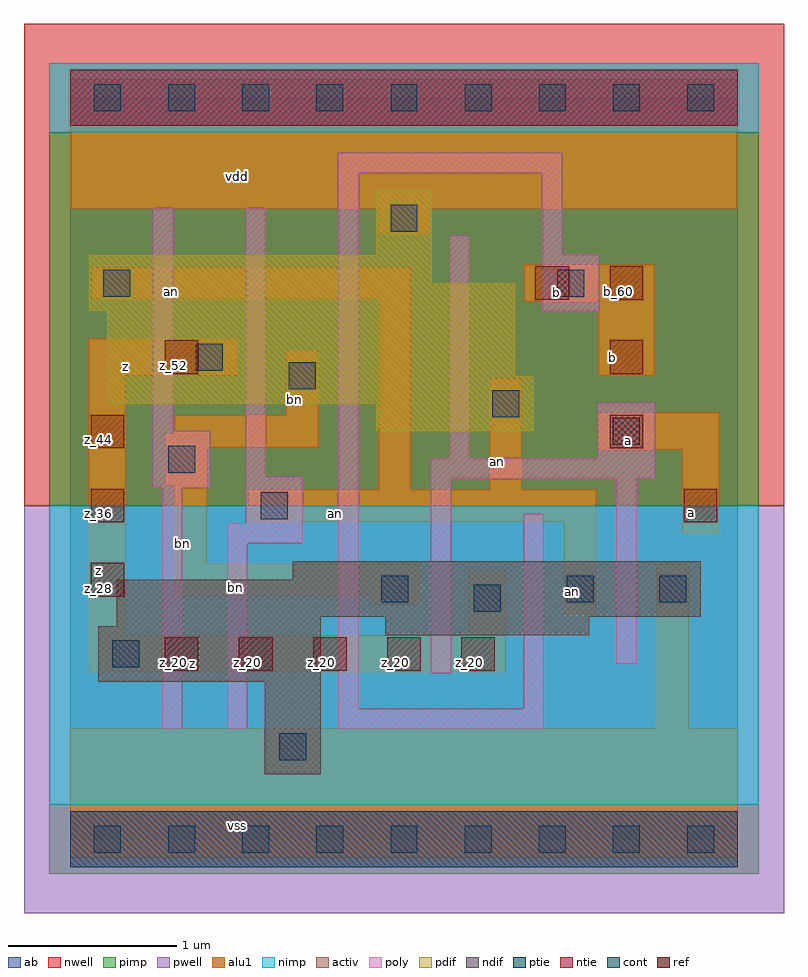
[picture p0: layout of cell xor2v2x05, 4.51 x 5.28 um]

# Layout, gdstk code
import gdstk
lib = gdstk.Library(unit=1e-6, precision=2.5e-09)
def R(c, l, rs):  # rectangles x0, y0, x1, y1
    for r in rs: c.add(gdstk.rectangle(r[:2], r[2:], *l))
def A(c, l, x, y, w, h, nx, ny, dx, dy):  # array of equal rectangles
    R(c, l, [(x+i*dx, y+j*dy, x+i*dx+w, y+j*dy+h) for i in range(nx) for j in range(ny)])
ndif = (3, 0)
pdif = (4, 0)
ntie = (5, 0)
ptie = (6, 0)
ref = (24, 0)
cont = (25, 0)
pwell = (41, 0)
nwell = (42, 0)
activ = (43, 0)
pimp = (44, 0)
nimp = (45, 0)
poly = (46, 0)
alu1 = (49, 0)
ab = (63, 0)

xor2v2x05 = lib.new_cell('xor2v2x05')
R(xor2v2x05, ndif, [(1.155,0.385,1.485,0.935), (0.165,0.935,1.485,1.265), (1.87,1.21,3.08,1.32), (0.275,1.265,1.485,1.32), (0.275,1.32,3.74,1.54), (1.32,1.54,3.74,1.65)])
R(xor2v2x05, pdif, [(1.815,2.42,2.75,2.585), (0.22,2.585,2.75,2.75), (0.22,2.75,2.64,3.135), (0.11,3.135,2.64,3.3), (0.11,3.3,2.145,3.465), (1.815,3.465,2.145,3.85)])
R(xor2v2x05, ntie, [(0,4.235,3.96,4.565)])
R(xor2v2x05, ptie, [(0,-0.165,3.96,0.165)])
A(xor2v2x05, ref, 0.56, 1, 0.2, 0.2, 5, 1, 0.44, 0)
A(xor2v2x05, ref, 0.12, 1.44, 0.2, 0.2, 1, 3, 0, 0.44)
A(xor2v2x05, ref, 3.2, 2.32, 0.2, 0.2, 1, 3, 0, 0.44)
R(xor2v2x05, ref, [(3.64,1.88,3.84,2.08), (0.56,2.76,0.76,2.96), (2.76,3.2,2.96,3.4)])
A(xor2v2x05, cont, 0.14, -0.08, 0.16, 0.16, 9, 2, 0.44, 4.4)
R(xor2v2x05, cont, [(1.24,0.47,1.4,0.63), (0.25,1.02,0.41,1.18), (2.395,1.35,2.555,1.51), (1.845,1.405,2.005,1.565), (2.945,1.405,3.105,1.565), (3.495,1.405,3.655,1.565), (1.13,1.9,1.29,2.06), (0.58,2.175,0.74,2.335), (3.22,2.34,3.38,2.5), (2.505,2.505,2.665,2.665), (1.295,2.67,1.455,2.83), (0.745,2.78,0.905,2.94), (0.195,3.22,0.355,3.38), (2.89,3.22,3.05,3.38), (1.9,3.605,2.06,3.765)])
R(xor2v2x05, pwell, [(-0.275,-0.44,4.235,1.98)])
R(xor2v2x05, nwell, [(-0.275,1.98,4.235,4.84)])
R(xor2v2x05, activ, [(0,-0.165,3.96,0.165), (1.155,0.385,1.485,0.935), (0.165,0.935,1.485,1.265), (1.87,1.21,3.08,1.32), (0.275,1.265,1.485,1.32), (0.275,1.32,3.74,1.54), (1.32,1.54,3.74,1.65), (1.815,2.42,2.75,2.585), (0.22,2.585,2.75,2.75), (0.22,2.75,2.64,3.135), (0.11,3.135,2.64,3.3), (0.11,3.3,2.145,3.465), (1.815,3.465,2.145,3.85), (0,4.235,3.96,4.565)])
R(xor2v2x05, pimp, [(-0.125,-0.205,4.085,0.205), (-0.125,1.98,4.085,4.195)])
R(xor2v2x05, nimp, [(-0.125,0.205,4.085,1.98), (-0.125,4.195,4.085,4.605)])
R(xor2v2x05, poly, [(0.545,0.655,0.665,2.085), (0.93,0.655,1.05,1.755), (1.59,0.655,2.81,0.775), (1.59,0.775,1.71,3.955), (2.69,0.775,2.81,1.93), (2.14,0.985,2.26,2.14), (3.24,1.04,3.36,2.14), (0.93,1.755,1.38,1.875), (1.04,1.875,1.38,2.15), (0.49,2.085,0.83,2.425), (2.14,2.14,3.47,2.26), (1.04,2.15,1.16,3.745), (2.25,2.26,2.37,3.58), (3.13,2.26,3.47,2.59), (0.49,2.425,0.61,3.745), (2.8,3.13,3.14,3.47), (2.8,3.47,2.92,3.955), (1.59,3.955,2.92,4.075)])
R(xor2v2x05, alu1, [(0,-0.11,3.96,0.66), (3.48,0.66,3.67,1.635), (0.11,0.99,2.585,1.21), (0.11,1.21,0.33,2.75), (2.365,1.21,2.585,1.595), (2.93,1.335,3.12,1.885), (1.775,1.39,2.075,1.445), (0.62,1.445,2.075,1.635), (0.62,1.635,0.81,2.105), (3.63,1.815,3.85,2.31), (1.06,1.885,3.12,2.075), (1.83,2.075,2.02,3.205), (2.49,2.075,2.68,2.735), (0.565,2.105,0.81,2.325), (3.135,2.31,3.85,2.53), (0.565,2.325,1.47,2.405), (0.62,2.405,1.47,2.515), (1.28,2.515,1.47,2.9), (0.11,2.75,0.99,2.97), (3.135,2.75,3.465,3.19), (2.695,3.19,3.465,3.41), (0.125,3.205,2.02,3.395), (1.83,3.59,2.13,3.74), (0,3.74,3.96,4.51)])
R(xor2v2x05, ab, [(0,0,3.96,4.4)])
xor2v2x05.add(gdstk.Label('vss', (0.99,0.0825), layer=49, texttype=0))
xor2v2x05.add(gdstk.Label('z', (0.7275,1.045), layer=49, texttype=0))
xor2v2x05.add(gdstk.Label('a', (3.685,1.9375), layer=49, texttype=0))
xor2v2x05.add(gdstk.Label('an', (2.9775,1.4725), layer=49, texttype=0))
xor2v2x05.add(gdstk.Label('bn', (0.9825,1.4925), layer=49, texttype=0))
xor2v2x05.add(gdstk.Label('an', (1.575,1.9325), layer=49, texttype=0))
xor2v2x05.add(gdstk.Label('a', (3.3125,2.365), layer=49, texttype=0))
xor2v2x05.add(gdstk.Label('an', (2.5375,2.24), layer=49, texttype=0))
xor2v2x05.add(gdstk.Label('b', (3.2175,2.86), layer=49, texttype=0))
xor2v2x05.add(gdstk.Label('b', (2.8875,3.245), layer=49, texttype=0))
xor2v2x05.add(gdstk.Label('bn', (0.6675,1.7525), layer=49, texttype=0))
xor2v2x05.add(gdstk.Label('bn', (1.3275,2.61), layer=49, texttype=0))
xor2v2x05.add(gdstk.Label('z', (0.165,1.595), layer=49, texttype=0))
xor2v2x05.add(gdstk.Label('z', (0.33,2.805), layer=49, texttype=0))
xor2v2x05.add(gdstk.Label('an', (0.5975,3.2525), layer=49, texttype=0))
xor2v2x05.add(gdstk.Label('vdd', (0.99,3.9325), layer=49, texttype=0))
xor2v2x05.add(gdstk.Label('a_36', (3.69,1.93), layer=24, texttype=0))
xor2v2x05.add(gdstk.Label('b_60', (3.25,3.25), layer=24, texttype=0))
xor2v2x05.add(gdstk.Label('b_52', (3.25,2.81), layer=24, texttype=0))
xor2v2x05.add(gdstk.Label('a_44', (3.25,2.37), layer=24, texttype=0))
xor2v2x05.add(gdstk.Label('z_20', (2.37,1.05), layer=24, texttype=0))
xor2v2x05.add(gdstk.Label('z_44', (0.17,2.37), layer=24, texttype=0))
xor2v2x05.add(gdstk.Label('z_36', (0.17,1.93), layer=24, texttype=0))
xor2v2x05.add(gdstk.Label('z_28', (0.17,1.49), layer=24, texttype=0))
xor2v2x05.add(gdstk.Label('z_20', (1.93,1.05), layer=24, texttype=0))
xor2v2x05.add(gdstk.Label('z_20', (1.49,1.05), layer=24, texttype=0))
xor2v2x05.add(gdstk.Label('z_20', (1.05,1.05), layer=24, texttype=0))
xor2v2x05.add(gdstk.Label('z_52', (0.61,2.81), layer=24, texttype=0))
xor2v2x05.add(gdstk.Label('z_20', (0.61,1.05), layer=24, texttype=0))
xor2v2x05.add(gdstk.Label('b_60', (2.81,3.25), layer=24, texttype=0))

lib.write_gds('xor2v2x05.gds')
